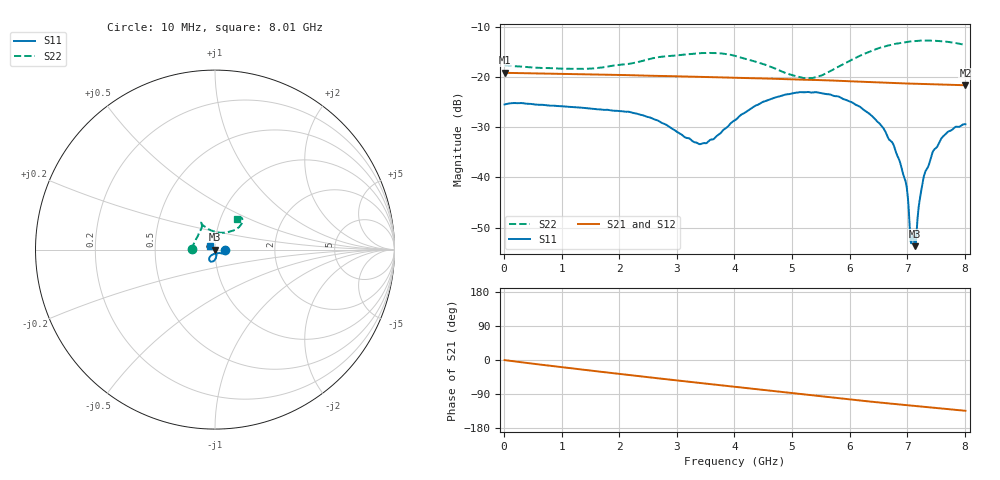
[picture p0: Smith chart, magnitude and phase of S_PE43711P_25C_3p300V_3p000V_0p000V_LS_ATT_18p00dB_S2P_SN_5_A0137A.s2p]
! Device ID: PE43711P
! File Path: z:\PE43711P\CHAR_NOM_04282014\AMB\3p300\LS_ATT_18p00dB\PE43711P_AMB_3p300V_3p000V_0p000V_LS_ATT_18p00dB_S2P_SN_5_A0137A.s2p
! Serial: 5
! Lot: A0137A
! Temp: 25C
! VDD: 3.300
! VSS: 0.000
! Control_Hi: 3.000
! Control_Lo: 0.000
! Attenuation Step: 18.00dB
! Port 1: RF1
! Port 2: RF2
! ThroughPath:1-2
! IDD: 0.0001273645
! ISS: -1.221e-007
#  Hz  S  RI  R  50
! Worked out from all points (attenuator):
!   801 points, 10 MHz to 8.01 GHz, reference 50 ohm
!   highest |S21| = -19.18 dB at 10 MHz (marker M1); lowest = -21.6 dB at 8.01 GHz (marker M2)
!   lowest |S11| = -53.7 dB at 7.14 GHz (marker M3), VSWR 1.00, Z = 49.8 - j0.0183 ohm
!   |S11| at or under -10 dB: start of sweep to end of sweep
!   |S22| runs from -20.3 to -12.7 dB; largest |S21 - S12| = 0.00025
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1e7  0.0532 0.000184  0.1099 -0.00047  0.1101 -0.000529  -0.1301 0.000944
1.35e9  0.0457 -0.0188  0.0967 -0.0453  0.0967 -0.0454  -0.1034 0.061
2.17e9  0.0395 -0.0217  0.0801 -0.0667  0.0802 -0.0667  -0.08 0.1087
2.68e9  0.0309 -0.0197  0.0679 -0.0766  0.068 -0.0767  -0.0735 0.1393
3.41e9  0.00543 -0.0208  0.0486 -0.0872  0.0487 -0.0872  -0.0735 0.1561
3.65e9  -0.00526 -0.0238  0.0423 -0.0899  0.0423 -0.0898  -0.0757 0.1557
4.01e9  -0.0199 -0.0313  0.0321 -0.0929  0.032 -0.093  -0.0747 0.144
4.53e9  -0.0317 -0.0478  0.0172 -0.095  0.0172 -0.095  -0.0495 0.1232
5.35e9  -0.0222 -0.0664  -0.00533 -0.0933  -0.00529 -0.0935  0.0245 0.0943
6.17e9  0.00299 -0.0508  -0.0259 -0.086  -0.026 -0.0861  0.1162 0.1129
6.53e9  0.00761 -0.033  -0.0335 -0.0813  -0.0335 -0.0815  0.1421 0.1348
6.68e9  0.00659 -0.0232  -0.0363 -0.0794  -0.0363 -0.0795  0.1476 0.1443
6.78e9  0.00633 -0.0187  -0.0382 -0.078  -0.0381 -0.0781  0.1509 0.1502
6.95e9  0.00254 -0.00968  -0.0412 -0.0757  -0.0411 -0.0758  0.1527 0.1593
6.99e9  0.00273 -0.00766  -0.0419 -0.0752  -0.0418 -0.0753  0.1535 0.1611
7.07e9  -0.0009 -0.00202  -0.0433 -0.0741  -0.0433 -0.0742  0.153 0.1661
7.1e9  -0.00202 -0.0017  -0.0439 -0.0737  -0.0438 -0.0737  0.1527 0.167
7.14e9  -0.00206 -0.000184  -0.0445 -0.0731  -0.0445 -0.0732  0.1528 0.1688
7.27e9  -0.00611 0.00663  -0.0467 -0.0712  -0.0467 -0.0712  0.1503 0.1747
7.45e9  -0.0123 0.0135  -0.0496 -0.0684  -0.0496 -0.0685  0.1432 0.1794
7.68e9  -0.0197 0.0193  -0.0529 -0.0647  -0.053 -0.0648  0.133 0.1809
8.01e9  -0.026 0.0216  -0.0574 -0.0595  -0.0576 -0.0594  0.1201 0.1701
